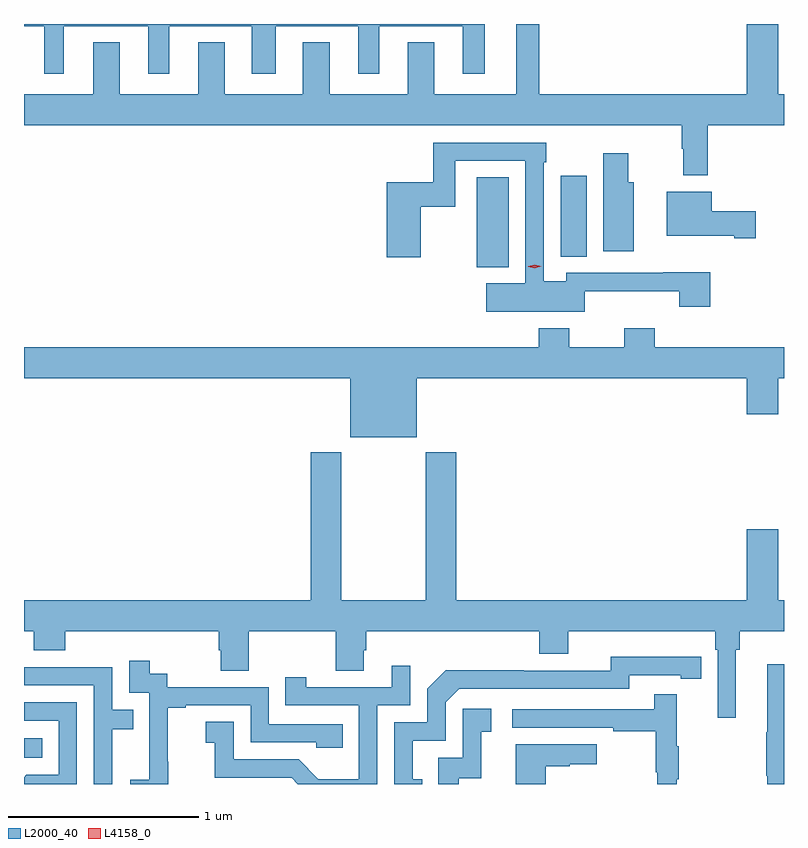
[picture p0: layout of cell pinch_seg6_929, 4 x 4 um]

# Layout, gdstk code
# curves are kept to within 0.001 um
import gdstk
lib = gdstk.Library(unit=1e-6, precision=1e-09)
def R(c, l, rs):  # rectangles x0, y0, x1, y1
    for r in rs: c.add(gdstk.rectangle(r[:2], r[2:], *l))
def P(c, l, *ps):  # polygons
    for p in ps: c.add(gdstk.Polygon(p, *l))
L2000_40 = (2000, 40)
L4158_0 = (4158, 0)

pinch_seg6_929 = lib.new_cell('pinch_seg6_929')
R(pinch_seg6_929, L2000_40, [(305.059,916.034,305.156,916.138), (307.442,918.617,307.609,919.091), (307.883,918.673,308.02,919.099)])
P(pinch_seg6_929, L2000_40, [(308.521,919.241),(308.529,919.241),(308.529,919.101),(308.657,919.101),(308.657,919.364),(309.059,919.364),(309.059,919.528),(309.028,919.528),(309.028,919.897),(308.864,919.897),(308.864,919.528),(307.771,919.528),(307.771,919.897),(307.649,919.897),(307.649,919.528),(307.219,919.528),(307.219,919.801),(307.079,919.801),(307.079,919.528),(306.667,919.528),(306.667,919.801),(306.527,919.801),(306.527,919.528),(306.115,919.528),(306.115,919.801),(305.975,919.801),(305.975,919.528),(305.563,919.528),(305.563,919.801),(305.423,919.801),(305.423,919.528),(305.059,919.528),(305.059,919.364),(308.521,919.364)],
  [(305.269,919.886),(305.714,919.886),(305.714,919.635),(305.824,919.635),(305.824,919.886),(306.257,919.886),(306.257,919.635),(306.385,919.635),(306.385,919.886),(306.818,919.886),(306.818,919.635),(306.928,919.635),(306.928,919.886),(307.367,919.886),(307.367,919.635),(307.483,919.635),(307.483,919.897),(305.059,919.897),(305.059,919.886),(305.165,919.886),(305.165,919.635),(305.269,919.635)],
  [(308.01,918.491),(308.507,918.491),(308.507,918.408),(308.672,918.408),(308.672,918.59),(308.423,918.59),(308.423,918.588),(307.914,918.588),(307.914,918.544),(307.794,918.544),(307.794,919.169),(307.807,919.169),(307.807,919.272),(307.213,919.272),(307.213,919.063),(306.968,919.063),(306.968,918.669),(307.146,918.669),(307.146,918.934),(307.329,918.934),(307.329,919.176),(307.698,919.176),(307.698,918.532),(307.491,918.532),(307.491,918.383),(308.01,918.383)],
  [(308.269,919.063),(308.238,919.063),(308.238,919.216),(308.108,919.216),(308.108,918.702),(308.269,918.702)],
  [(308.911,918.912),(308.68,918.912),(308.68,919.015),(308.441,919.015),(308.441,918.782),(308.798,918.782),(308.798,918.77),(308.911,918.77)],
  [(307.126,918.032),(308.864,918.032),(308.864,917.844),(309.028,917.844),(309.028,918.032),(309.059,918.032),(309.059,918.196),(308.378,918.196),(308.378,918.295),(308.218,918.295),(308.218,918.196),(307.929,918.196),(307.929,918.295),(307.769,918.295),(307.769,918.196),(305.059,918.196),(305.059,918.032),(306.776,918.032),(306.776,917.723),(307.126,917.723)],
  [(308.806,916.604),(308.825,916.604),(308.825,916.7),(309.059,916.7),(309.059,916.864),(309.028,916.864),(309.028,917.239),(308.864,917.239),(308.864,916.864),(307.334,916.864),(307.334,917.644),(307.174,917.644),(307.174,916.864),(306.729,916.864),(306.729,917.644),(306.569,917.644),(306.569,916.864),(305.059,916.864),(305.059,916.7),(305.111,916.7),(305.111,916.601),(305.276,916.601),(305.276,916.7),(306.083,916.7),(306.083,916.602),(306.095,916.602),(306.095,916.492),(306.243,916.492),(306.243,916.7),(306.7,916.7),(306.7,916.492),(306.847,916.492),(306.847,916.602),(306.86,916.602),(306.86,916.7),(307.772,916.7),(307.772,916.583),(307.924,916.583),(307.924,916.7),(308.696,916.7),(308.696,916.604),(308.709,916.604),(308.709,916.245),(308.806,916.245)],
  [(307.154,915.921),(307.105,915.921),(307.105,916.125),(307.278,916.125),(307.278,916.326),(307.35,916.398),(308.244,916.398),(308.244,916.47),(308.516,916.47),(308.516,916.45),(308.624,916.45),(308.624,916.566),(308.148,916.567),(308.148,916.494),(307.688,916.494),(307.688,916.496),(307.28,916.496),(307.182,916.398),(307.182,916.221),(307.008,916.221),(307.008,915.897),(307.154,915.897)],
  [(305.817,916.015),(305.816,916.015),(305.816,916.299),(305.911,916.299),(305.911,916.311),(306.252,916.311),(306.252,916.116),(306.597,916.116),(306.597,916.089),(306.737,916.089),(306.737,916.212),(306.348,916.212),(306.348,916.407),(305.814,916.407),(305.814,916.476),(305.722,916.476),(305.722,916.546),(305.613,916.546),(305.613,916.377),(305.718,916.377),(305.718,916.148),(305.717,916.148),(305.717,915.919),(305.619,915.919),(305.619,915.897),(305.817,915.897)],
  [(309.059,916.528),(308.972,916.528),(308.972,916.17),(308.965,916.17),(308.965,915.94),(308.972,915.94),(308.972,915.897),(309.059,915.897)],
  [(306.918,916.311),(307.092,916.311),(307.092,916.519),(306.995,916.519),(306.995,916.407),(306.544,916.407),(306.544,916.459),(306.433,916.459),(306.433,916.311),(306.822,916.311),(306.822,915.922),(306.608,915.922),(306.504,916.026),(306.162,916.026),(306.162,916.225),(306.015,916.225),(306.015,916.115),(306.064,916.115),(306.064,915.93),(306.467,915.93),(306.5,915.897),(306.918,915.897)],
  [(305.523,916.186),(305.633,916.186),(305.633,916.287),(305.523,916.287),(305.523,916.512),(305.059,916.512),(305.059,916.416),(305.427,916.416),(305.427,915.897),(305.523,915.897)],
  [(308.495,915.923),(308.506,915.923),(308.506,916.097),(308.495,916.097),(308.495,916.369),(308.377,916.369),(308.377,916.29),(307.629,916.29),(307.629,916.194),(308.161,916.194),(308.161,916.174),(308.385,916.174),(308.385,915.96),(308.392,915.96),(308.392,915.897),(308.495,915.897)],
  [(305.337,916.326),(305.059,916.326),(305.059,916.23),(305.241,916.23),(305.241,915.945),(305.072,915.945),(305.059,915.932),(305.059,915.897),(305.337,915.897)],
  [(307.348,915.927),(307.466,915.927),(307.466,916.173),(307.519,916.173),(307.519,916.294),(307.368,916.294),(307.368,916.035),(307.239,916.035),(307.239,915.897),(307.348,915.897)],
  [(307.804,915.991),(307.931,915.991),(307.931,916.001),(308.074,916.001),(308.074,916.105),(307.646,916.105),(307.646,915.897),(307.804,915.897)])
P(pinch_seg6_929, L4158_0, [(307.747,918.611),(307.712,918.62),(307.712,918.62),(307.712,918.621),(307.747,918.631),(307.782,918.622),(307.782,918.622),(307.782,918.622)])

lib.write_gds('pinch_seg6_929.gds')
